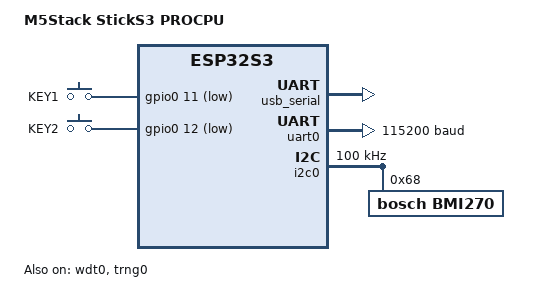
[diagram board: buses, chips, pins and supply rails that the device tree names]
/*
 * Copyright (c) 2026 Hsiu-Chi Tsai
 *
 * SPDX-License-Identifier: Apache-2.0
 */
/dts-v1/;

#include <espressif/esp32s3/esp32s3_pico_n8r8.dtsi>
#include "m5stack_sticks3-pinctrl.dtsi"
#include <zephyr/dt-bindings/input/input-event-codes.h>
#include <espressif/partitions_0x0_amp.dtsi>

/ {
	model = "M5Stack StickS3 PROCPU";
	compatible = "m5stack,sticks3";

	chosen {
		zephyr,sram = &sram1;
		zephyr,console = &usb_serial;
		zephyr,shell-uart = &usb_serial;
		zephyr,flash = &flash0;
		zephyr,code-partition = &slot0_partition;
	};

	aliases {
		sw0 = &button_key1;
		sw1 = &button_key2;
		watchdog0 = &wdt0;
		accel0 = &bmi270;
	};

	gpio_keys {
		compatible = "gpio-keys";

		button_key1: button_0 {
			label = "KEY1";
			gpios = <&gpio0 11 (GPIO_ACTIVE_LOW | GPIO_PULL_UP)>;
			zephyr,code = <INPUT_KEY_0>;
		};

		button_key2: button_1 {
			label = "KEY2";
			gpios = <&gpio0 12 (GPIO_ACTIVE_LOW | GPIO_PULL_UP)>;
			zephyr,code = <INPUT_KEY_1>;
		};
	};
};

&usb_serial {
	status = "okay";
};

&uart0 {
	status = "okay";
	current-speed = <115200>;
	pinctrl-0 = <&uart0_default>;
	pinctrl-names = "default";
};

&i2c0 {
	status = "okay";
	clock-frequency = <I2C_BITRATE_STANDARD>;
	pinctrl-0 = <&i2c0_default>;
	pinctrl-names = "default";

	/* On-board Bosch BMI270 6-axis IMU. */
	bmi270: bmi270@68 {
		compatible = "bosch,bmi270";
		reg = <0x68>;
	};
};

&gpio0 {
	status = "okay";
};

&gpio1 {
	status = "okay";
};

&wdt0 {
	status = "okay";
};

&trng0 {
	status = "okay";
};
